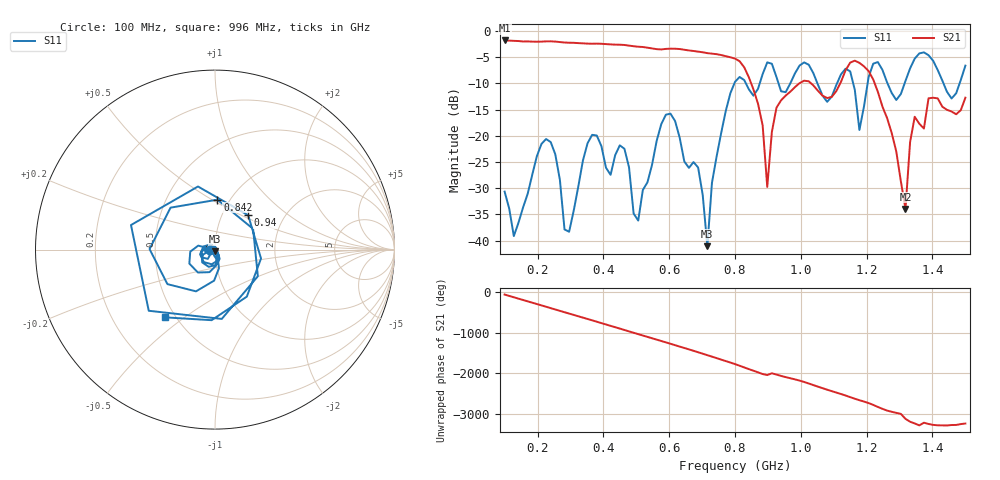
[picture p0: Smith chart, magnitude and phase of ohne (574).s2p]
! NanoVNA-App
! Date: 2025-09-25 14:25:16
! Start: 100MHz Stop: 1,5GHz Points: 101
! S-Parameter data: F S11 S21 S12 S22
# Hz S RI R 50
!  Frequency  S11_Real  S11_Imag  S21_Real  S21_Imag  S12_Real  S12_Imag  S22_Real  S22_Imag
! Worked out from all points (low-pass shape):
!   101 points, 100 MHz to 1.5 GHz, reference 50 ohm
!   highest |S21| = -1.79 dB at 100 MHz (marker M1); lowest = -33.9 dB at 1.318 GHz (marker M2)
!   |S21| within 3 dB of the highest: start of sweep to 771.8 MHz
!   lowest |S11| = -41.1 dB at 716 MHz (marker M3), VSWR 1.02, Z = 49.8 - j0.85 ohm
!   |S11| at or under -10 dB: start of sweep to 798 MHz; 833.2 MHz to 875.1 MHz (41.95 MHz wide, 4.91 % of centre); 1.051 GHz to 1.11 GHz (59.36 MHz wide, 5.5 % of centre) (the widest 3 of 7)
!   S12 and S22 are empty: the file has one direction only
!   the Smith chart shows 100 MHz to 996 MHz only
!   S11 on the Smith chart (normalised r, x): 100 MHz: 0.94, -0.01; 842 MHz: 0.88, +0.53; 940 MHz: 1.32, +0.55; 996 MHz: 0.44, -0.43
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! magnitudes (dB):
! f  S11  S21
! 100 MHz  -30.6  -1.8
! 128 MHz  -39.1  -1.9
! 226 MHz  -20.6  -2.0
! 296 MHz  -38.3  -2.2
! 338 MHz  -24.7  -2.3
! 464 MHz  -22.5  -2.7
! 506 MHz  -36.2  -3.0
! 576 MHz  -17.8  -3.5
! 688 MHz  -26.0  -3.9
! 716 MHz  -41.1  -4.2
! 800 MHz  -9.7  -5.3
! 842 MHz  -11.1  -8.8
! 898 MHz  -6.0  -29.8
! 940 MHz  -11.5  -13.2
! 996 MHz  -6.6  -10.0
! 1.038 GHz  -8.0  -10.4
! 1.178 GHz  -18.9  -6.1
! 1.22 GHz  -6.2  -9.2
! 1.276 GHz  -11.8  -19.4
! 1.318 GHz  -9.5  -33.9
! 1.346 GHz  -5.3  -16.4
! 1.5 GHz  -6.6  -12.7
